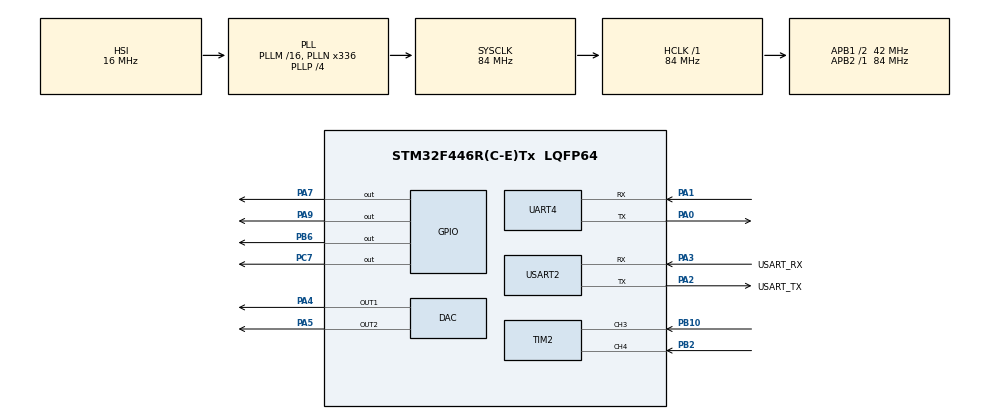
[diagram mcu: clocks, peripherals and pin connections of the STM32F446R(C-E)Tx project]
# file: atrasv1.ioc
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Mcu.Family=STM32F4
Mcu.Name=STM32F446R(C-E)Tx
Mcu.Package=LQFP64
NVIC.PriorityGroup=NVIC_PRIORITYGROUP_0
NVIC.TIM1_UP_TIM10_IRQn=true\:0\:0\:false\:false\:true\:true\:true\:true
NVIC.TIM2_IRQn=true\:0\:0\:false\:false\:true\:true\:true\:true
NVIC.UART4_IRQn=true\:0\:0\:false\:false\:true\:true\:true\:true
PA0-WKUP.Mode=Asynchronous
PA0-WKUP.Signal=UART4_TX
PA1.Mode=Asynchronous
PA1.Signal=UART4_RX
PA13.GPIO_Label=TMS
PA13.Mode=Serial_Wire
PA13.Signal=SYS_JTMS-SWDIO
PA14.GPIO_Label=TCK
PA14.Mode=Serial_Wire
PA14.Signal=SYS_JTCK-SWCLK
PA2.GPIO_Label=USART_TX
PA2.Mode=Asynchronous
PA2.Signal=USART2_TX
PA3.GPIO_Label=USART_RX
PA3.Mode=Asynchronous
PA3.Signal=USART2_RX
PA4.Signal=COMP_DAC1_group
PA5.Signal=COMP_DAC2_group
PA7.PinState=GPIO_PIN_SET
PA7.Signal=GPIO_Output
PA9.PinState=GPIO_PIN_SET
PA9.Signal=GPIO_Output
PB10.Signal=S_TIM2_CH3
PB2.Signal=S_TIM2_CH4
PB3.GPIO_Label=SWO
PB3.Signal=SYS_JTDO-SWO
PB6.PinState=GPIO_PIN_SET
PB6.Signal=GPIO_Output
PC14-OSC32_IN.Mode=LSE-External-Oscillator
PC14-OSC32_IN.Signal=RCC_OSC32_IN
PC15-OSC32_OUT.Mode=LSE-External-Oscillator
PC15-OSC32_OUT.Signal=RCC_OSC32_OUT
PC7.PinState=GPIO_PIN_SET
PC7.Signal=GPIO_Output
PH0-OSC_IN.Mode=HSE-External-Oscillator
PH0-OSC_IN.Signal=RCC_OSC_IN
PH1-OSC_OUT.Mode=HSE-External-Oscillator
PH1-OSC_OUT.Signal=RCC_OSC_OUT
ProjectManager.HeapSize=0x200
ProjectManager.StackSize=0x400
ProjectManager.TargetToolchain=STM32CubeIDE
RCC.48MHZClocksFreq_Value=84000000
RCC.AHBFreq_Value=84000000
RCC.APB1CLKDivider=RCC_HCLK_DIV2
RCC.APB1Freq_Value=42000000
RCC.APB1TimFreq_Value=84000000
RCC.APB2Freq_Value=84000000
RCC.APB2TimFreq_Value=84000000
RCC.CortexFreq_Value=84000000
RCC.FLatency-AdvancedSettings=FLASH_LATENCY_2
RCC.HCLKFreq_Value=84000000
RCC.HSE_VALUE=8000000
RCC.HSI_VALUE=16000000
RCC.PLLN=336
RCC.PLLP=RCC_PLLP_DIV4
RCC.SYSCLKFreq_VALUE=84000000
RCC.SYSCLKSource=RCC_SYSCLKSOURCE_PLLCLK
RCC.USBFreq_Value=168000000
RCC.VCOOutputFreq_Value=336000000
SH.COMP_DAC1_group.0=DAC_OUT1,DAC_OUT1
SH.COMP_DAC2_group.0=DAC_OUT2,DAC_OUT2
SH.S_TIM2_CH3.0=TIM2_CH3,Input_Capture3_from_TI3
SH.S_TIM2_CH4.0=TIM2_CH4,Input_Capture4_from_TI4
TIM10.AutoReloadPreload=TIM_AUTORELOAD_PRELOAD_DISABLE
TIM10.Period=2500
TIM10.Prescaler=8399
TIM2.Channel-Input_Capture3_from_TI3=TIM_CHANNEL_3
TIM2.Channel-Input_Capture4_from_TI4=TIM_CHANNEL_4
UART4.VirtualMode=Asynchronous
USART2.VirtualMode=VM_ASYNC
VP_TIM10_VS_ClockSourceINT.Mode=Enable_Timer
board=NUCLEO-F446RE

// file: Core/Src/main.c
/* USER CODE BEGIN Header */
/**
  ******************************************************************************
  * @file           : main.c
  * @brief          : Main program body
  ******************************************************************************
  * @attention
  *
  * Copyright (c) 2023 STMicroelectronics.
  * All rights reserved.
  *
  * This software is licensed under terms that can be found in the LICENSE file
  * in the root directory of this software component.
  * If no LICENSE file comes with this software, it is provided AS-IS.
  *
  ******************************************************************************
  */
/* USER CODE END Header */
#include "main.h"

/* USER CODE BEGIN Includes */
#include "app/uart/uart.h"
#include "app/diferencial/diferencial.h"
//#include "app/timers/timers.h"
#include "app/carro/carro.h"

/* USER CODE END Includes */

DAC_HandleTypeDef hdac;

TIM_HandleTypeDef htim2;
TIM_HandleTypeDef htim10;

UART_HandleTypeDef huart4;
UART_HandleTypeDef huart2;

void SystemClock_Config(void);
static void MX_GPIO_Init(void);
static void MX_USART2_UART_Init(void);
static void MX_DAC_Init(void);
static void MX_TIM2_Init(void);
static void MX_UART4_Init(void);
static void MX_TIM10_Init(void);
/* USER CODE BEGIN PFP */
uint8_t data[10]; // uart mailbox
int cambio = 0; // palancia de cambios
int p, a, mo1, mo2; //para debugear

/* USER CODE END PFP */

int main(void)
{

  /* MCU Configuration--------------------------------------------------------*/

  /* Reset of all peripherals, Initializes the Flash interface and the Systick. */
  HAL_Init();

  /* Configure the system clock */
  SystemClock_Config();

  /* Initialize all configured peripherals */
  MX_GPIO_Init();
  MX_USART2_UART_Init();
  MX_DAC_Init();
  MX_TIM2_Init();
  MX_UART4_Init();
  MX_TIM10_Init();
  /* USER CODE BEGIN 2 */
  HAL_DAC_Start(&hdac, DAC_CHANNEL_1);
  HAL_DAC_Start(&hdac, DAC_CHANNEL_2);
  HAL_DAC_SetValue(&hdac, DAC_CHANNEL_1, DAC_ALIGN_12B_R, 0);
  HAL_DAC_SetValue(&hdac, DAC_CHANNEL_2, DAC_ALIGN_12B_R, 0);
  HAL_UART_Receive_IT(&huart4, data, 1);

  //HAL_GPIO_WritePin(GPIOA, GPIO_PIN_9, GPIO_PIN_SET); // se apaga todos los reles, esto apaga los drivers
  //HAL_GPIO_WritePin(GPIOC, GPIO_PIN_7, GPIO_PIN_SET);
  //HAL_GPIO_WritePin(GPIOB, GPIO_PIN_6, GPIO_PIN_SET); //
  //HAL_GPIO_WritePin(GPIOA, GPIO_PIN_7, GPIO_PIN_SET); // libre
  //HAL_TIM_IC_Start_IT(&htim2, TIM_CHANNEL_3);
  //HAL_TIM_IC_Start_IT(&htim2, TIM_CHANNEL_4);

  /* USER CODE END 2 */

  /* Infinite loop */
  /* USER CODE BEGIN WHILE */
  while (1)
  {

	  switch (cambio){
	  	  	  case 0: // neutral
	  	  		  HAL_GPIO_WritePin(GPIOA, GPIO_PIN_9, GPIO_PIN_SET); // se apaga todos los reles, esto apaga los drivers
	  	  		  HAL_GPIO_WritePin(GPIOC, GPIO_PIN_7, GPIO_PIN_SET); //
	  	  		  HAL_GPIO_WritePin(GPIOB, GPIO_PIN_6, GPIO_PIN_SET); //
	  	  		  HAL_GPIO_WritePin(GPIOA, GPIO_PIN_7, GPIO_PIN_SET); // libre}
	  	  		  HAL_DAC_SetValue(&hdac, DAC_CHANNEL_1, DAC_ALIGN_12B_R, 0);
	  	  		  HAL_DAC_SetValue(&hdac, DAC_CHANNEL_2, DAC_ALIGN_12B_R, 0);
	  	  		  HAL_TIM_Base_Stop_IT(&htim10); // detiene PID

	  	  		  break;
	  	  	  case 1: // Adelante

	  	  		HAL_GPIO_WritePin(GPIOA, GPIO_PIN_9, GPIO_PIN_RESET); // se apaga todos los reles, esto apaga los drivers
	  	  		HAL_GPIO_WritePin(GPIOC, GPIO_PIN_7, GPIO_PIN_SET); //
	  	  		HAL_GPIO_WritePin(GPIOB, GPIO_PIN_6, GPIO_PIN_RESET); //
	  	  		HAL_GPIO_WritePin(GPIOA, GPIO_PIN_7, GPIO_PIN_RESET);// libre
	  	  		HAL_TIM_Base_Start_IT(&htim10);
	  	  		  break;
	  	  	  case 2: //Reversa
	  	  		HAL_GPIO_WritePin(GPIOA, GPIO_PIN_9, GPIO_PIN_RESET); // se apaga todos los reles, esto apaga los drivers
	  	  		HAL_GPIO_WritePin(GPIOC, GPIO_PIN_7, GPIO_PIN_RESET); //
	  	  		HAL_GPIO_WritePin(GPIOB, GPIO_PIN_6, GPIO_PIN_SET); //
	  	  		HAL_GPIO_WritePin(GPIOA, GPIO_PIN_7, GPIO_PIN_RESET); // libre
	  	  		 HAL_TIM_Base_Start_IT(&htim10); //detiene PID

	  	  		 /*
	  	  		  * falta implemenetar control del motor en reversa, lector de velocidad de los motores, ¿Can?, diferencial.
	  	  		  */
	  	  		break;
	  	  }

    /* USER CODE END WHILE */

  }
}

void SystemClock_Config(void)
{
  RCC_OscInitTypeDef RCC_OscInitStruct = {0};
  RCC_ClkInitTypeDef RCC_ClkInitStruct = {0};

  /** Configure the main internal regulator output voltage
  */
  __HAL_RCC_PWR_CLK_ENABLE();
  __HAL_PWR_VOLTAGESCALING_CONFIG(PWR_REGULATOR_VOLTAGE_SCALE3);

  /** Initializes the RCC Oscillators according to the specified parameters
  * in the RCC_OscInitTypeDef structure.
  */
  RCC_OscInitStruct.OscillatorType = RCC_OSCILLATORTYPE_HSI;
  RCC_OscInitStruct.HSIState = RCC_HSI_ON;
  RCC_OscInitStruct.HSICalibrationValue = RCC_HSICALIBRATION_DEFAULT;
  RCC_OscInitStruct.PLL.PLLState = RCC_PLL_ON;
  RCC_OscInitStruct.PLL.PLLSource = RCC_PLLSOURCE_HSI;
  RCC_OscInitStruct.PLL.PLLM = 16;
  RCC_OscInitStruct.PLL.PLLN = 336;
  RCC_OscInitStruct.PLL.PLLP = RCC_PLLP_DIV4;
  RCC_OscInitStruct.PLL.PLLQ = 2;
  RCC_OscInitStruct.PLL.PLLR = 2;
  if (HAL_RCC_OscConfig(&RCC_OscInitStruct) != HAL_OK)
  {
    Error_Handler();
  }

  /** Initializes the CPU, AHB and APB buses clocks
  */
  RCC_ClkInitStruct.ClockType = RCC_CLOCKTYPE_HCLK|RCC_CLOCKTYPE_SYSCLK
                              |RCC_CLOCKTYPE_PCLK1|RCC_CLOCKTYPE_PCLK2;
  RCC_ClkInitStruct.SYSCLKSource = RCC_SYSCLKSOURCE_PLLCLK;
  RCC_ClkInitStruct.AHBCLKDivider = RCC_SYSCLK_DIV1;
  RCC_ClkInitStruct.APB1CLKDivider = RCC_HCLK_DIV2;
  RCC_ClkInitStruct.APB2CLKDivider = RCC_HCLK_DIV1;

  if (HAL_RCC_ClockConfig(&RCC_ClkInitStruct, FLASH_LATENCY_2) != HAL_OK)
  {
    Error_Handler();
  }
}

static void MX_DAC_Init(void)
{

  DAC_ChannelConfTypeDef sConfig = {0};

  /** DAC Initialization
  */
  hdac.Instance = DAC;
  if (HAL_DAC_Init(&hdac) != HAL_OK)
  {
    Error_Handler();
  }

  /** DAC channel OUT1 config
  */
  sConfig.DAC_Trigger = DAC_TRIGGER_NONE;
  sConfig.DAC_OutputBuffer = DAC_OUTPUTBUFFER_ENABLE;
  if (HAL_DAC_ConfigChannel(&hdac, &sConfig, DAC_CHANNEL_1) != HAL_OK)
  {
    Error_Handler();
  }

  /** DAC channel OUT2 config
  */
  if (HAL_DAC_ConfigChannel(&hdac, &sConfig, DAC_CHANNEL_2) != HAL_OK)
  {
    Error_Handler();
  }

}

static void MX_TIM2_Init(void)
{

  TIM_MasterConfigTypeDef sMasterConfig = {0};
  TIM_IC_InitTypeDef sConfigIC = {0};

  htim2.Instance = TIM2;
  htim2.Init.Prescaler = 0;
  htim2.Init.CounterMode = TIM_COUNTERMODE_UP;
  htim2.Init.Period = 4294967295;
  htim2.Init.ClockDivision = TIM_CLOCKDIVISION_DIV1;
  htim2.Init.AutoReloadPreload = TIM_AUTORELOAD_PRELOAD_DISABLE;
  if (HAL_TIM_IC_Init(&htim2) != HAL_OK)
  {
    Error_Handler();
  }
  sMasterConfig.MasterOutputTrigger = TIM_TRGO_RESET;
  sMasterConfig.MasterSlaveMode = TIM_MASTERSLAVEMODE_DISABLE;
  if (HAL_TIMEx_MasterConfigSynchronization(&htim2, &sMasterConfig) != HAL_OK)
  {
    Error_Handler();
  }
  sConfigIC.ICPolarity = TIM_INPUTCHANNELPOLARITY_RISING;
  sConfigIC.ICSelection = TIM_ICSELECTION_DIRECTTI;
  sConfigIC.ICPrescaler = TIM_ICPSC_DIV1;
  sConfigIC.ICFilter = 0;
  if (HAL_TIM_IC_ConfigChannel(&htim2, &sConfigIC, TIM_CHANNEL_3) != HAL_OK)
  {
    Error_Handler();
  }
  if (HAL_TIM_IC_ConfigChannel(&htim2, &sConfigIC, TIM_CHANNEL_4) != HAL_OK)
  {
    Error_Handler();
  }

}

static void MX_TIM10_Init(void)
{

  htim10.Instance = TIM10;
  htim10.Init.Prescaler = 8399;
  htim10.Init.CounterMode = TIM_COUNTERMODE_UP;
  htim10.Init.Period = 2500;
  htim10.Init.ClockDivision = TIM_CLOCKDIVISION_DIV1;
  htim10.Init.AutoReloadPreload = TIM_AUTORELOAD_PRELOAD_DISABLE;
  if (HAL_TIM_Base_Init(&htim10) != HAL_OK)
  {
    Error_Handler();
  }

}

static void MX_UART4_Init(void)
{

  huart4.Instance = UART4;
  huart4.Init.BaudRate = 115200;
  huart4.Init.WordLength = UART_WORDLENGTH_8B;
  huart4.Init.StopBits = UART_STOPBITS_1;
  huart4.Init.Parity = UART_PARITY_NONE;
  huart4.Init.Mode = UART_MODE_TX_RX;
  huart4.Init.HwFlowCtl = UART_HWCONTROL_NONE;
  huart4.Init.OverSampling = UART_OVERSAMPLING_16;
  if (HAL_UART_Init(&huart4) != HAL_OK)
  {
    Error_Handler();
  }

}

static void MX_USART2_UART_Init(void)
{

  huart2.Instance = USART2;
  huart2.Init.BaudRate = 115200;
  huart2.Init.WordLength = UART_WORDLENGTH_8B;
  huart2.Init.StopBits = UART_STOPBITS_1;
  huart2.Init.Parity = UART_PARITY_NONE;
  huart2.Init.Mode = UART_MODE_TX_RX;
  huart2.Init.HwFlowCtl = UART_HWCONTROL_NONE;
  huart2.Init.OverSampling = UART_OVERSAMPLING_16;
  if (HAL_UART_Init(&huart2) != HAL_OK)
  {
    Error_Handler();
  }

}

static void MX_GPIO_Init(void)
{
  GPIO_InitTypeDef GPIO_InitStruct = {0};

  /* GPIO Ports Clock Enable */
  __HAL_RCC_GPIOC_CLK_ENABLE();
  __HAL_RCC_GPIOH_CLK_ENABLE();
  __HAL_RCC_GPIOA_CLK_ENABLE();
  __HAL_RCC_GPIOB_CLK_ENABLE();

  /*Configure GPIO pin Output Level */
  HAL_GPIO_WritePin(GPIOA, GPIO_PIN_7|GPIO_PIN_9, GPIO_PIN_SET);

  /*Configure GPIO pin Output Level */
  HAL_GPIO_WritePin(GPIOC, GPIO_PIN_7, GPIO_PIN_SET);

  /*Configure GPIO pin Output Level */
  HAL_GPIO_WritePin(GPIOB, GPIO_PIN_6, GPIO_PIN_SET);

  /*Configure GPIO pins : PA7 PA9 */
  GPIO_InitStruct.Pin = GPIO_PIN_7|GPIO_PIN_9;
  GPIO_InitStruct.Mode = GPIO_MODE_OUTPUT_PP;
  GPIO_InitStruct.Pull = GPIO_NOPULL;
  GPIO_InitStruct.Speed = GPIO_SPEED_FREQ_LOW;
  HAL_GPIO_Init(GPIOA, &GPIO_InitStruct);

  /*Configure GPIO pin : PC7 */
  GPIO_InitStruct.Pin = GPIO_PIN_7;
  GPIO_InitStruct.Mode = GPIO_MODE_OUTPUT_PP;
  GPIO_InitStruct.Pull = GPIO_NOPULL;
  GPIO_InitStruct.Speed = GPIO_SPEED_FREQ_LOW;
  HAL_GPIO_Init(GPIOC, &GPIO_InitStruct);

  /*Configure GPIO pin : PB6 */
  GPIO_InitStruct.Pin = GPIO_PIN_6;
  GPIO_InitStruct.Mode = GPIO_MODE_OUTPUT_PP;
  GPIO_InitStruct.Pull = GPIO_NOPULL;
  GPIO_InitStruct.Speed = GPIO_SPEED_FREQ_LOW;
  HAL_GPIO_Init(GPIOB, &GPIO_InitStruct);

}

void Error_Handler(void)
{
  __disable_irq();
  while (1)
  {
  }
}
